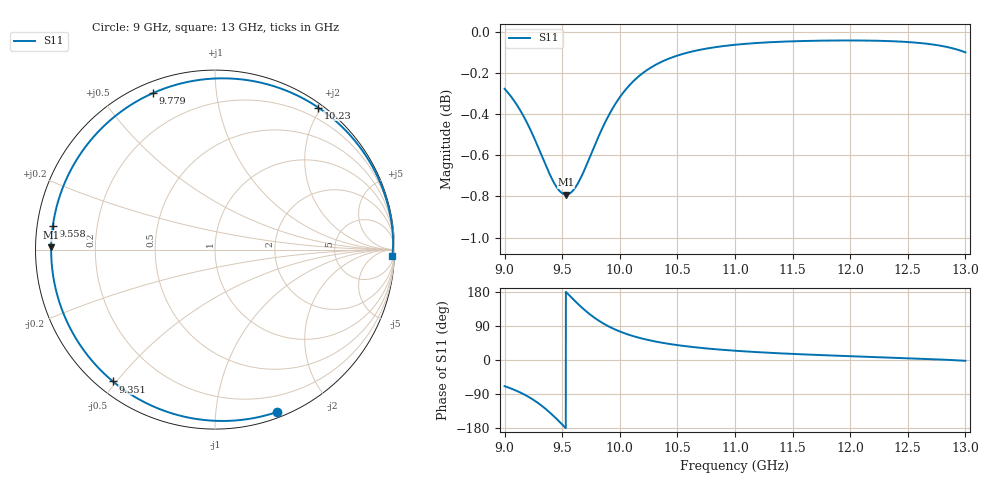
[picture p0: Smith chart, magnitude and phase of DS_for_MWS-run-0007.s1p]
! TOUCHSTONE file generated by CST DESIGN STUDIO
! Date and time: Tue Feb  4 16:14:29 2025
! Project name: C:\Work\MatlabApps\UnitCellOptimizationMatlab\CST\unitcell.cst
! Tree item: Tasks\Sweep1\SPara1\S-Parameters
! Header version: 2024
! Port assignment regex: !\s*Touchstone port\s*([0-9]+)\s*=\s*(CST MWS port|CST DES external port|CST DES block port)\s*(.+)\s* \(\"(.*)\"\)(\s*mode\s*([0-9]+))?.*
! Touchstone port assignment:
! Touchstone port 1 = CST DES external port 1 ("")
# GHz S MA R 50
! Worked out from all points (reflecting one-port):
!   4001 points, 9 GHz to 13 GHz, reference 50 ohm
!   lowest |S11| = -0.8 dB at 9.534 GHz (marker M1), VSWR 21.97, Z = 2.28 + j0.344 ohm
!   phase of S11 starts at -69 deg and turns -293 deg over the sweep
!   S11 on the Smith chart (normalised r, x): 9 GHz: 0.05, -1.45; 9.351 GHz: 0.05, -0.49; 9.558 GHz: 0.05, +0.07; 9.779 GHz: 0.05, +0.68; 10.23 GHz: 0.05, +1.96; 13 GHz: 15, -50
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9  0.9686 -69.1
9.1  0.9605 -80.8
9.208  0.9487 -97.3
9.283  0.9386 -111.9
9.351  0.9289 -127.7
9.392  0.9233 -138.5
9.434  0.9184 -150.3
9.5  0.9136 -170.2
9.534  0.9129 179.2
9.558  0.9133 171.7
9.612  0.9164 155.2
9.673  0.923 137.7
9.725  0.9301 124.2
9.779  0.9379 111.7
9.825  0.9444 102.3
9.876  0.951 93.1
9.938  0.9581 83.5
10  0.9641 75.3
10.108  0.9721 63.8
10.23  0.9786 53.9
10.355  0.9832 46.2
10.5  0.9868 39.3
10.721  0.9903 31.4
11  0.9928 24.5
11.5  0.9947 16.0
12  0.9952 10.1
12.5  0.9943 4.7
13  0.9886 -2.1
